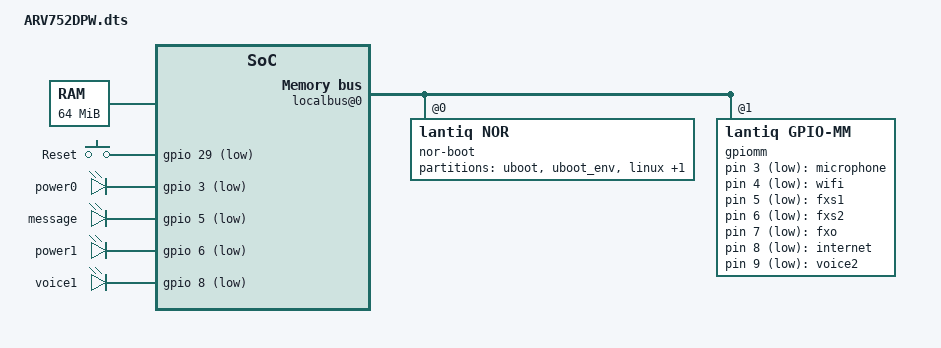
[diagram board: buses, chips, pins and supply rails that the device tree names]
/dts-v1/;

/include/ "danube.dtsi"

/ {
	chosen {
		bootargs = "console=ttyLTQ0,115200 init=/etc/preinit";
	};

	memory@0 {
		reg = <0x0 0x4000000>;
	};

	fpi@10000000 {
		#address-cells = <1>;
		#size-cells = <1>;
		localbus@0 {
			#address-cells = <2>;
			#size-cells = <1>;
			ranges = <0 0 0x0 0x3ffffff /* addrsel0 */
				1 0 0x4000000 0x4000010>; /* addsel1 */
			compatible = "lantiq,localbus", "simple-bus";

			nor-boot@0 {
				compatible = "lantiq,nor";
				bank-width = <2>;
				reg = <0 0x0 0x800000>;
				#address-cells = <1>;
				#size-cells = <1>;

				partition@0 {
					label = "uboot";
					reg = <0x00000 0x10000>;
					read-only;
				};

				partition@10000 {
					label = "uboot_env";
					reg = <0x10000 0x10000>;
				};

				partition@20000 {
					label = "linux";
					reg = <0x20000 0x7d0000>;
				};

				partition@7f0000 {
					label = "boardconfig";
					reg = <0x7f0000 0x10000>;
					read-only;
				};
			};
			gpiomm: gpiomm@4000000 {
				compatible = "lantiq,gpio-mm";
				reg = <1 0x0 0x10 >;
				#address-cells = <1>;
				#size-cells = <1>;
				#gpio-cells = <2>;
				gpio-controller;
				lantiq,shadow = <2>;
			};
		};

		gpio: pinmux@E100B10 {
			compatible = "lantiq,pinctrl-xway";
			pinctrl-names = "default";
			pinctrl-0 = <&state_default>;

			#gpio-cells = <2>;
			gpio-controller;
			reg = <0xE100B10 0xA0>;

			state_default: pinmux {
				ebu {
					lantiq,groups = "ebu cs1";
					lantiq,function = "ebu";
				};
				pci {
					lantiq,groups = "gnt1", "req1";
					lantiq,function = "pci";
				};
				conf_out {
					lantiq,pins = "io3", "io5", "io6", "io8", /* leds */
							"io21"; /* pci-rst */
					lantiq,open-drain;
					lantiq,pull = <0>;
				};
			};
		};

		adsl: dsl@E116000 {
			compatible = "lantiq,dsl-xway";
			interrupt-parent = <&icu0>;
			interrupts = <63 96>;
		};

		etop@E180000 {
			compatible = "lantiq,etop-xway";
			reg = <0xE180000 0x40000>;
			interrupt-parent = <&icu0>;
			interrupts = <73 78>;
			phy-mode = "rmii";
			mac-address = [ 00 11 22 33 44 55 ];
		};

		pci@E105400 {
			lantiq,bus-clock = <33333333>;
			interrupt-map-mask = <0xf800 0x0 0x0 0x7>;
			interrupt-map = <
                                0x7000 0 0 1 &icu0 30 1 // slot 14, irq 29
			>;
			lantiq,external-clock;
			gpio-reset = <&gpio 21 0>;
			req-mask = <0x3>;
		};

	};

	gpio-keys {
		compatible = "gpio-keys1";
		reset {
			label = "Reset";
			gpios = <&gpio 29 1>;
			gpio-key,wakeup;
			linux,code = <0x100>;
		};
	};
	gpio-leds {
		compatible = "gpio-leds";
		power0 {
			label = "power0";
			gpios = <&gpio 3 1>;
			default-state = "on";
		};
		message {
			label = "message";
			gpios = <&gpio 5 1>;
			default-state = "on";
		};
		power1 {
			label = "power1";
			gpios = <&gpio 6 1>;
			default-state = "on";
		};
		voice1 {
			label = "voice1";
			gpios = <&gpio 8 1>;
			default-state = "on";
		};
		microphone {
			label = "microphone";
			gpios = <&gpiomm 3 1>;
			default-state = "on";
		};
		wifi {
			label = "wifi";
			gpios = <&gpiomm 4 1>;
			default-state = "on";
		};
		fxs1 {
			label = "fxs1";
			gpios = <&gpiomm 5 1>;
			default-state = "on";
		};
		fx2 {
			label = "fxs2";
			gpios = <&gpiomm 6 1>;
			default-state = "on";
		};
		fxo {
			label = "fxo";
			gpios = <&gpiomm 7 1>;
			default-state = "on";
		};
		internet {
			label = "internet";
			gpios = <&gpiomm 8 1>;
			default-state = "on";
		};
		voice2 {
			label = "voice2";
			gpios = <&gpiomm 9 1>;
			default-state = "on";
		};
	};
};
